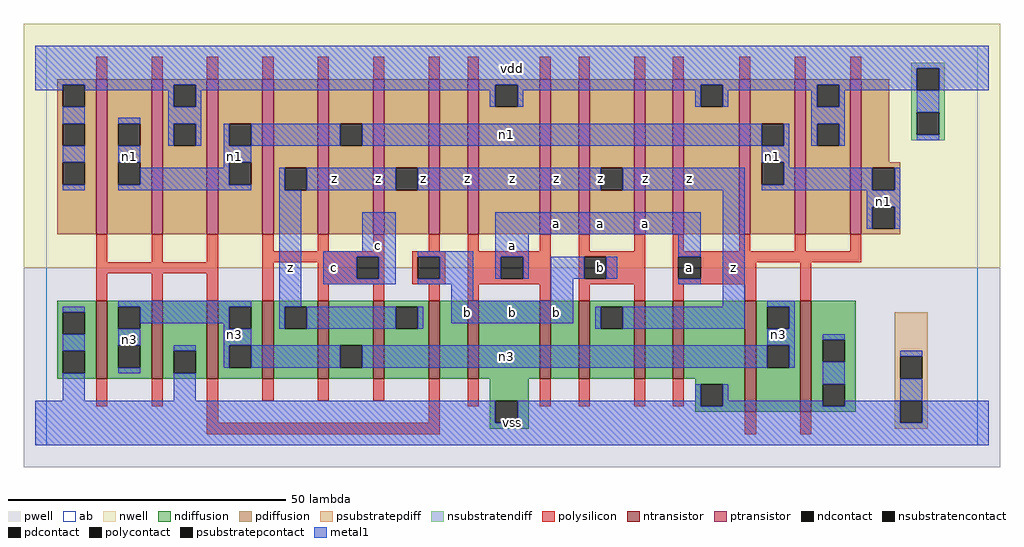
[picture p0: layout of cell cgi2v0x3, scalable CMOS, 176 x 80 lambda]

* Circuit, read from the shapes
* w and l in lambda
.subckt cgi2v0x3 a b c n1 n3 vdd vss z
M1 n3 b vss vss nfet w=14 l=2 m=3
M2 z c n3 vss nfet w=14 l=2 m=3
M3 n2 b z vss nfet w=14 l=2
M4 vss a n2 vss nfet w=14 l=2
M5 n4 a vss vss nfet w=14 l=2
M6 z b n4 vss nfet w=14 l=2
M7 n5 b z vss nfet w=14 l=2
M8 vss a n5 vss nfet w=14 l=2
M9 n3 a vss vss nfet w=20 l=2 m=2
M10 n1 b vdd vdd pfet w=28 l=2 m=3
M11 z c n1 vdd pfet w=28 l=2 m=3
M12 n6 b z vdd pfet w=28 l=2
M13 vdd a n6 vdd pfet w=28 l=2
M14 n7 a vdd vdd pfet w=28 l=2
M15 z b n7 vdd pfet w=28 l=2
M16 n8 b z vdd pfet w=28 l=2
M17 vdd a n8 vdd pfet w=28 l=2
M18 n1 a vdd vdd pfet w=28 l=2 m=3
.ends

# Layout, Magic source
magic
tech scmos
<< ab >>
rect 0 0 168 72
<< pwell >>
rect -4 -4 172 32
<< nwell >>
rect -4 32 172 76
<< polysilicon >>
rect 9 66 11 70
rect 19 66 21 70
rect 29 66 31 70
rect 39 66 41 70
rect 49 66 51 70
rect 59 66 61 70
rect 69 66 71 70
rect 76 66 78 70
rect 89 66 91 70
rect 96 66 98 70
rect 106 66 108 70
rect 113 66 115 70
rect 125 66 127 70
rect 135 66 137 70
rect 145 66 147 70
rect 9 33 11 38
rect 19 33 21 38
rect 29 33 31 38
rect 9 31 31 33
rect 9 26 11 31
rect 19 26 21 31
rect 29 26 31 31
rect 39 35 41 38
rect 49 35 51 38
rect 59 35 61 38
rect 69 35 71 38
rect 76 35 78 38
rect 89 35 91 38
rect 39 34 61 35
rect 39 33 56 34
rect 39 26 41 33
rect 49 30 56 33
rect 60 30 61 34
rect 49 29 61 30
rect 66 34 72 35
rect 66 30 67 34
rect 71 30 72 34
rect 66 29 72 30
rect 76 34 91 35
rect 76 30 82 34
rect 86 30 91 34
rect 76 29 91 30
rect 49 26 51 29
rect 59 26 61 29
rect 69 26 71 29
rect 76 26 78 29
rect 89 26 91 29
rect 96 35 98 38
rect 106 35 108 38
rect 96 34 108 35
rect 96 30 97 34
rect 101 30 108 34
rect 96 29 108 30
rect 96 26 98 29
rect 106 26 108 29
rect 113 35 115 38
rect 125 35 127 38
rect 135 35 137 38
rect 145 35 147 38
rect 113 34 147 35
rect 113 30 114 34
rect 118 33 147 34
rect 118 30 128 33
rect 113 29 128 30
rect 113 26 115 29
rect 126 26 128 29
rect 136 26 138 33
rect 9 7 11 12
rect 19 7 21 12
rect 29 4 31 12
rect 39 8 41 12
rect 49 8 51 12
rect 59 8 61 12
rect 69 4 71 12
rect 76 7 78 12
rect 29 2 71 4
rect 89 7 91 12
rect 96 7 98 12
rect 106 7 108 12
rect 113 7 115 12
rect 126 2 128 6
rect 136 2 138 6
<< ndiffusion >>
rect 2 24 9 26
rect 2 20 3 24
rect 7 20 9 24
rect 2 17 9 20
rect 2 13 3 17
rect 7 13 9 17
rect 2 12 9 13
rect 11 25 19 26
rect 11 21 13 25
rect 17 21 19 25
rect 11 18 19 21
rect 11 14 13 18
rect 17 14 19 18
rect 11 12 19 14
rect 21 17 29 26
rect 21 13 23 17
rect 27 13 29 17
rect 21 12 29 13
rect 31 25 39 26
rect 31 21 33 25
rect 37 21 39 25
rect 31 18 39 21
rect 31 14 33 18
rect 37 14 39 18
rect 31 12 39 14
rect 41 25 49 26
rect 41 21 43 25
rect 47 21 49 25
rect 41 12 49 21
rect 51 18 59 26
rect 51 14 53 18
rect 57 14 59 18
rect 51 12 59 14
rect 61 25 69 26
rect 61 21 63 25
rect 67 21 69 25
rect 61 12 69 21
rect 71 12 76 26
rect 78 12 89 26
rect 91 12 96 26
rect 98 25 106 26
rect 98 21 100 25
rect 104 21 106 25
rect 98 12 106 21
rect 108 12 113 26
rect 115 12 126 26
rect 80 8 87 12
rect 80 4 81 8
rect 85 4 87 8
rect 117 11 126 12
rect 117 7 118 11
rect 122 7 126 11
rect 117 6 126 7
rect 128 25 136 26
rect 128 21 130 25
rect 134 21 136 25
rect 128 18 136 21
rect 128 14 130 18
rect 134 14 136 18
rect 128 6 136 14
rect 138 19 146 26
rect 138 15 140 19
rect 144 15 146 19
rect 138 11 146 15
rect 138 7 140 11
rect 144 7 146 11
rect 138 6 146 7
rect 80 3 87 4
<< pdiffusion >>
rect 2 65 9 66
rect 2 61 3 65
rect 7 61 9 65
rect 2 58 9 61
rect 2 54 3 58
rect 7 54 9 58
rect 2 51 9 54
rect 2 47 3 51
rect 7 47 9 51
rect 2 38 9 47
rect 11 58 19 66
rect 11 54 13 58
rect 17 54 19 58
rect 11 51 19 54
rect 11 47 13 51
rect 17 47 19 51
rect 11 38 19 47
rect 21 65 29 66
rect 21 61 23 65
rect 27 61 29 65
rect 21 58 29 61
rect 21 54 23 58
rect 27 54 29 58
rect 21 38 29 54
rect 31 58 39 66
rect 31 54 33 58
rect 37 54 39 58
rect 31 51 39 54
rect 31 47 33 51
rect 37 47 39 51
rect 31 38 39 47
rect 41 50 49 66
rect 41 46 43 50
rect 47 46 49 50
rect 41 38 49 46
rect 51 58 59 66
rect 51 54 53 58
rect 57 54 59 58
rect 51 38 59 54
rect 61 50 69 66
rect 61 46 63 50
rect 67 46 69 50
rect 61 38 69 46
rect 71 38 76 66
rect 78 65 89 66
rect 78 61 81 65
rect 85 61 89 65
rect 78 38 89 61
rect 91 38 96 66
rect 98 50 106 66
rect 98 46 100 50
rect 104 46 106 50
rect 98 38 106 46
rect 108 38 113 66
rect 115 65 125 66
rect 115 61 118 65
rect 122 61 125 65
rect 115 38 125 61
rect 127 58 135 66
rect 127 54 129 58
rect 133 54 135 58
rect 127 51 135 54
rect 127 47 129 51
rect 133 47 135 51
rect 127 38 135 47
rect 137 65 145 66
rect 137 61 139 65
rect 143 61 145 65
rect 137 58 145 61
rect 137 54 139 58
rect 143 54 145 58
rect 137 38 145 54
rect 147 51 152 66
rect 147 50 154 51
rect 147 46 149 50
rect 153 46 154 50
rect 147 43 154 46
rect 147 39 149 43
rect 153 39 154 43
rect 147 38 154 39
<< metal1 >>
rect -2 68 170 72
rect -2 65 157 68
rect -2 64 3 65
rect 7 64 23 65
rect 3 58 7 61
rect 22 61 23 64
rect 27 64 81 65
rect 27 61 28 64
rect 80 61 81 64
rect 85 64 118 65
rect 85 61 86 64
rect 117 61 118 64
rect 122 64 139 65
rect 122 61 123 64
rect 138 61 139 64
rect 143 64 157 65
rect 161 64 170 68
rect 143 61 144 64
rect 3 51 7 54
rect 3 46 7 47
rect 13 58 17 59
rect 22 58 28 61
rect 138 58 144 61
rect 22 54 23 58
rect 27 54 28 58
rect 32 54 33 58
rect 37 54 53 58
rect 57 54 129 58
rect 133 54 134 58
rect 138 54 139 58
rect 143 54 144 58
rect 157 60 161 64
rect 157 55 161 56
rect 13 51 17 54
rect 32 51 37 54
rect 32 50 33 51
rect 17 47 33 50
rect 129 51 134 54
rect 13 46 37 47
rect 42 46 43 50
rect 47 46 63 50
rect 67 46 100 50
rect 104 46 126 50
rect 133 50 134 51
rect 133 47 149 50
rect 129 46 149 47
rect 153 46 154 50
rect 13 25 37 26
rect 3 24 7 25
rect 3 17 7 20
rect 17 22 33 25
rect 13 18 17 21
rect 32 21 33 22
rect 42 25 46 46
rect 57 35 63 42
rect 81 38 118 42
rect 50 34 63 35
rect 50 30 56 34
rect 60 30 63 34
rect 50 29 63 30
rect 67 34 77 35
rect 71 30 77 34
rect 81 34 87 38
rect 114 34 118 38
rect 81 30 82 34
rect 86 30 87 34
rect 91 30 97 34
rect 101 30 103 34
rect 67 29 77 30
rect 73 26 77 29
rect 91 26 95 30
rect 114 29 118 30
rect 42 21 43 25
rect 47 21 63 25
rect 67 21 68 25
rect 73 22 95 26
rect 122 25 126 46
rect 148 43 154 46
rect 148 39 149 43
rect 153 39 154 43
rect 99 21 100 25
rect 104 21 126 25
rect 130 25 135 26
rect 134 21 135 25
rect 32 18 37 21
rect 130 18 135 21
rect 13 13 17 14
rect 23 17 27 18
rect 32 14 33 18
rect 37 14 53 18
rect 57 14 130 18
rect 134 14 135 18
rect 140 19 144 20
rect 3 8 7 13
rect 23 8 27 13
rect 140 11 144 15
rect 117 8 118 11
rect -2 4 81 8
rect 85 7 118 8
rect 122 8 123 11
rect 122 7 140 8
rect 154 16 158 17
rect 154 8 158 12
rect 144 7 154 8
rect 85 4 154 7
rect 158 4 170 8
rect -2 0 170 4
<< ntransistor >>
rect 9 12 11 26
rect 19 12 21 26
rect 29 12 31 26
rect 39 12 41 26
rect 49 12 51 26
rect 59 12 61 26
rect 69 12 71 26
rect 76 12 78 26
rect 89 12 91 26
rect 96 12 98 26
rect 106 12 108 26
rect 113 12 115 26
rect 126 6 128 26
rect 136 6 138 26
<< ptransistor >>
rect 9 38 11 66
rect 19 38 21 66
rect 29 38 31 66
rect 39 38 41 66
rect 49 38 51 66
rect 59 38 61 66
rect 69 38 71 66
rect 76 38 78 66
rect 89 38 91 66
rect 96 38 98 66
rect 106 38 108 66
rect 113 38 115 66
rect 125 38 127 66
rect 135 38 137 66
rect 145 38 147 66
<< polycontact >>
rect 56 30 60 34
rect 67 30 71 34
rect 82 30 86 34
rect 97 30 101 34
rect 114 30 118 34
<< ndcontact >>
rect 3 20 7 24
rect 3 13 7 17
rect 13 21 17 25
rect 13 14 17 18
rect 23 13 27 17
rect 33 21 37 25
rect 33 14 37 18
rect 43 21 47 25
rect 53 14 57 18
rect 63 21 67 25
rect 100 21 104 25
rect 81 4 85 8
rect 118 7 122 11
rect 130 21 134 25
rect 130 14 134 18
rect 140 15 144 19
rect 140 7 144 11
<< pdcontact >>
rect 3 61 7 65
rect 3 54 7 58
rect 3 47 7 51
rect 13 54 17 58
rect 13 47 17 51
rect 23 61 27 65
rect 23 54 27 58
rect 33 54 37 58
rect 33 47 37 51
rect 43 46 47 50
rect 53 54 57 58
rect 63 46 67 50
rect 81 61 85 65
rect 100 46 104 50
rect 118 61 122 65
rect 129 54 133 58
rect 129 47 133 51
rect 139 61 143 65
rect 139 54 143 58
rect 149 46 153 50
rect 149 39 153 43
<< psubstratepcontact >>
rect 154 12 158 16
rect 154 4 158 8
<< nsubstratencontact >>
rect 157 64 161 68
rect 157 56 161 60
<< psubstratepdiff >>
rect 153 16 159 24
rect 153 12 154 16
rect 158 12 159 16
rect 153 8 159 12
rect 153 4 154 8
rect 158 4 159 8
rect 153 3 159 4
<< nsubstratendiff >>
rect 156 68 162 69
rect 156 64 157 68
rect 161 64 162 68
rect 156 60 162 64
rect 156 56 157 60
rect 161 56 162 60
rect 156 55 162 56
<< labels >>
rlabel metal1 15 19 15 19 6 n3
rlabel metal1 15 52 15 52 6 n1
rlabel metal1 34 20 34 20 6 n3
rlabel metal1 44 32 44 32 6 z
rlabel metal1 52 32 52 32 6 c
rlabel metal1 60 36 60 36 6 c
rlabel metal1 52 48 52 48 6 z
rlabel metal1 60 48 60 48 6 z
rlabel metal1 34 52 34 52 6 n1
rlabel metal1 84 4 84 4 6 vss
rlabel metal1 76 24 76 24 6 b
rlabel metal1 84 24 84 24 6 b
rlabel metal1 92 24 92 24 6 b
rlabel metal1 92 40 92 40 6 a
rlabel metal1 84 36 84 36 6 a
rlabel metal1 68 48 68 48 6 z
rlabel metal1 76 48 76 48 6 z
rlabel metal1 84 48 84 48 6 z
rlabel metal1 92 48 92 48 6 z
rlabel metal1 84 68 84 68 6 vdd
rlabel polycontact 116 32 116 32 6 a
rlabel metal1 124 32 124 32 6 z
rlabel polycontact 100 32 100 32 6 b
rlabel metal1 100 40 100 40 6 a
rlabel metal1 108 40 108 40 6 a
rlabel metal1 100 48 100 48 6 z
rlabel metal1 108 48 108 48 6 z
rlabel metal1 116 48 116 48 6 z
rlabel metal1 131 52 131 52 6 n1
rlabel metal1 83 56 83 56 6 n1
rlabel metal1 132 20 132 20 6 n3
rlabel metal1 83 16 83 16 6 n3
rlabel metal1 151 44 151 44 6 n1
<< end >>
